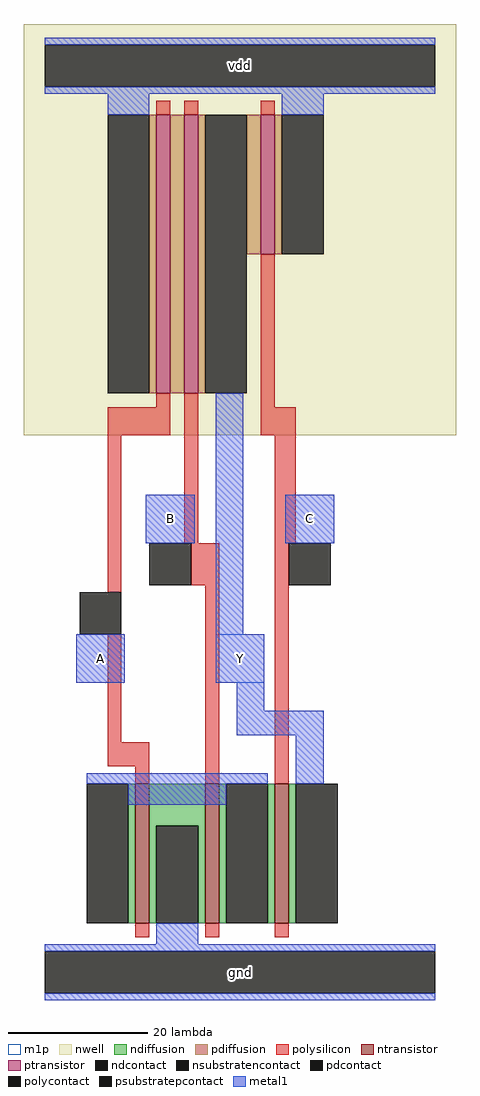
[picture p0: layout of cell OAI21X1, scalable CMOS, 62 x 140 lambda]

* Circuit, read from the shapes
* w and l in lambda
.subckt OAI21X1 A B C Y vdd gnd
M1 gnd A n1 gnd nfet w=20 l=2
M2 n1 B gnd gnd nfet w=20 l=2
M3 Y C n1 gnd nfet w=20 l=2
M4 n2 A vdd vdd pfet w=40 l=2
M5 Y B n2 vdd pfet w=40 l=2
M6 vdd C Y vdd pfet w=20 l=2
.ends

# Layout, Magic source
magic
tech scmos
magscale 1 2
<< nwell >>
rect -12 154 112 272
<< ntransistor >>
rect 20 14 24 54
rect 40 14 44 54
rect 60 14 64 54
<< ptransistor >>
rect 26 166 30 246
rect 34 166 38 246
rect 56 206 60 246
<< ndiffusion >>
rect 18 14 20 54
rect 24 42 40 54
rect 24 14 26 42
rect 38 14 40 42
rect 44 14 46 54
rect 58 14 60 54
rect 64 14 66 54
<< pdiffusion >>
rect 24 166 26 246
rect 30 166 34 246
rect 38 166 40 246
rect 52 206 56 246
rect 60 206 62 246
<< ndcontact >>
rect 6 14 18 54
rect 26 14 38 42
rect 46 14 58 54
rect 66 14 78 54
<< pdcontact >>
rect 12 166 24 246
rect 40 166 52 246
rect 62 206 74 246
<< psubstratepcontact >>
rect -6 -6 106 6
<< nsubstratencontact >>
rect -6 254 106 266
<< polysilicon >>
rect 26 246 30 250
rect 34 246 38 250
rect 56 246 60 250
rect 26 162 30 166
rect 12 154 30 162
rect 12 109 16 154
rect 34 123 38 166
rect 56 162 60 206
rect 56 154 66 162
rect 60 123 66 154
rect 36 111 44 123
rect 12 66 16 97
rect 12 59 24 66
rect 20 54 24 59
rect 40 54 44 111
rect 60 54 64 123
rect 20 10 24 14
rect 40 10 44 14
rect 60 10 64 14
<< polycontact >>
rect 24 111 36 123
rect 4 97 16 109
rect 64 111 76 123
<< metal1 >>
rect -6 266 106 268
rect -6 252 106 254
rect 12 246 24 252
rect 62 246 74 252
rect 23 123 37 137
rect 43 97 51 166
rect 63 123 77 137
rect 3 83 17 97
rect 43 83 57 97
rect 49 75 57 83
rect 49 68 74 75
rect 6 54 58 57
rect 18 48 46 54
rect 66 54 74 68
rect 26 8 38 14
rect -6 6 106 8
rect -6 -8 106 -6
<< m1p >>
rect 23 123 37 137
rect 63 123 77 137
rect 3 83 17 97
rect 43 83 57 97
<< labels >>
rlabel metal1 23 123 37 137 0 B
port 1 nsew signal input
rlabel metal1 -6 252 106 268 0 vdd
port 4 nsew power bidirectional abutment
rlabel metal1 -6 -8 106 8 0 gnd
port 5 nsew ground bidirectional abutment
rlabel metal1 3 83 17 97 0 A
port 0 nsew signal input
rlabel metal1 43 83 57 97 0 Y
port 3 nsew signal output
rlabel metal1 63 123 77 137 0 C
port 2 nsew signal input
<< properties >>
string FIXED_BBOX 0 0 100 260
string LEFclass CORE
string LEFsite core
string LEFsymmetry X Y
<< end >>
